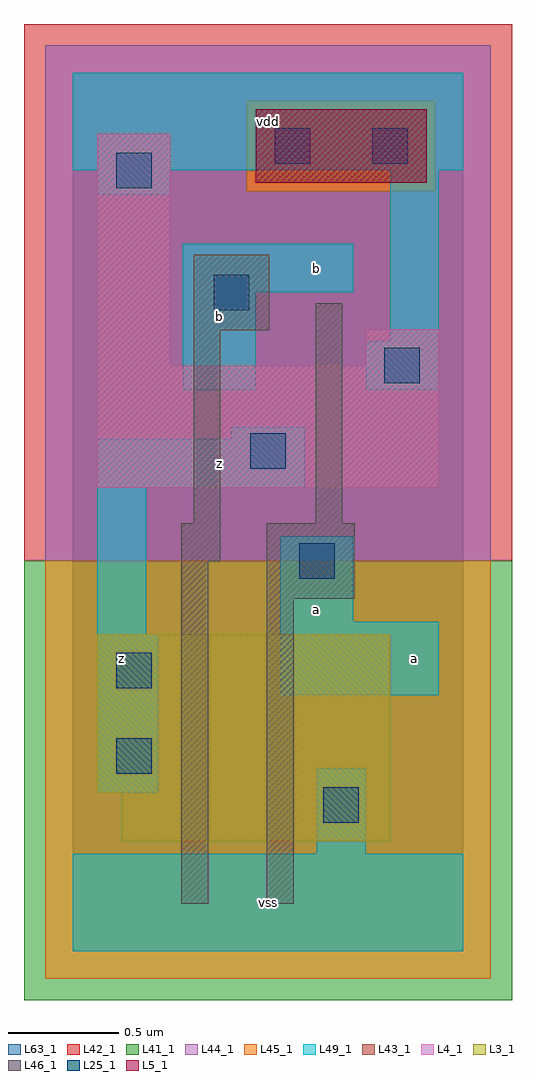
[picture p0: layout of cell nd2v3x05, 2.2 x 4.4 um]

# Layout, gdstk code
import gdstk
lib = gdstk.Library(unit=1e-6, precision=1e-09)
def R(c, l, rs):  # rectangles x0, y0, x1, y1
    for r in rs: c.add(gdstk.rectangle(r[:2], r[2:], *l))
L3_1 = (3, 1)
L4_1 = (4, 1)
L5_1 = (5, 1)
L25_1 = (25, 1)
L41_1 = (41, 1)
L42_1 = (42, 1)
L43_1 = (43, 1)
L44_1 = (44, 1)
L45_1 = (45, 1)
L46_1 = (46, 1)
L49_1 = (49, 1)
L63_1 = (63, 1)

nd2v3x05 = lib.new_cell('nd2v3x05')
R(nd2v3x05, L3_1, [(0.22,0.495,1.43,0.715), (0.11,0.715,1.43,1.43)])
R(nd2v3x05, L4_1, [(0.11,2.09,1.65,2.64), (0.11,2.64,0.44,3.685), (1.32,2.64,1.65,2.805)])
R(nd2v3x05, L5_1, [(0.825,3.465,1.595,3.795)])
R(nd2v3x05, L25_1, [(1.13,0.58,1.29,0.74), (0.195,0.8,0.355,0.96), (0.195,1.185,0.355,1.345), (1.02,1.68,1.18,1.84), (0.8,2.175,0.96,2.335), (1.405,2.56,1.565,2.72), (0.635,2.89,0.795,3.05), (0.195,3.44,0.355,3.6), (0.91,3.55,1.07,3.71), (1.35,3.55,1.51,3.71)])
R(nd2v3x05, L41_1, [(-0.22,-0.22,1.98,1.76)])
R(nd2v3x05, L42_1, [(-0.22,1.76,1.98,4.18)])
R(nd2v3x05, L43_1, [(0.22,0.495,1.43,0.715), (0.11,0.715,1.43,1.43), (0.11,2.09,1.65,2.64), (0.11,2.64,0.44,3.685), (1.32,2.64,1.65,2.805), (0.825,3.465,1.595,3.795)])
R(nd2v3x05, L44_1, [(-0.125,1.76,1.885,3.425), (-0.125,3.425,0.785,3.835), (1.635,3.425,1.885,3.835), (-0.125,3.835,1.885,4.085)])
R(nd2v3x05, L45_1, [(-0.125,-0.125,1.885,1.76), (0.785,3.425,1.635,3.835)])
R(nd2v3x05, L46_1, [(0.49,0.215,0.61,1.755), (0.875,0.215,0.995,1.59), (0.875,1.59,1.27,1.93), (0.49,1.755,0.665,1.93), (0.545,1.93,0.665,2.8), (1.095,1.93,1.215,2.92), (0.545,2.8,0.885,3.14)])
R(nd2v3x05, L49_1, [(0,0,1.76,0.44), (1.1,0.44,1.32,0.825), (0.11,0.715,0.385,1.43), (0.935,1.155,1.65,1.485), (0.11,1.43,0.33,2.09), (0.935,1.485,1.265,1.87), (0.11,2.09,1.045,2.31), (0.715,2.31,1.045,2.365), (0.495,2.53,0.825,2.97), (1.32,2.53,1.65,2.75), (1.43,2.75,1.65,3.52), (0.495,2.97,1.265,3.19), (0.11,3.41,0.44,3.52), (0,3.52,1.76,3.96)])
R(nd2v3x05, L63_1, [(0,0,1.76,3.96)])
nd2v3x05.add(gdstk.Label('z', (0.22,1.32), layer=49, texttype=1))
nd2v3x05.add(gdstk.Label('z', (0.66,2.2), layer=49, texttype=1))
nd2v3x05.add(gdstk.Label('b', (0.66,2.86), layer=49, texttype=1))
nd2v3x05.add(gdstk.Label('vss', (0.88,0.22), layer=49, texttype=1))
nd2v3x05.add(gdstk.Label('a', (1.1,1.54), layer=49, texttype=1))
nd2v3x05.add(gdstk.Label('b', (1.1,3.08), layer=49, texttype=1))
nd2v3x05.add(gdstk.Label('vdd', (0.88,3.74), layer=49, texttype=1))
nd2v3x05.add(gdstk.Label('a', (1.54,1.32), layer=49, texttype=1))

lib.write_gds('nd2v3x05.gds')
